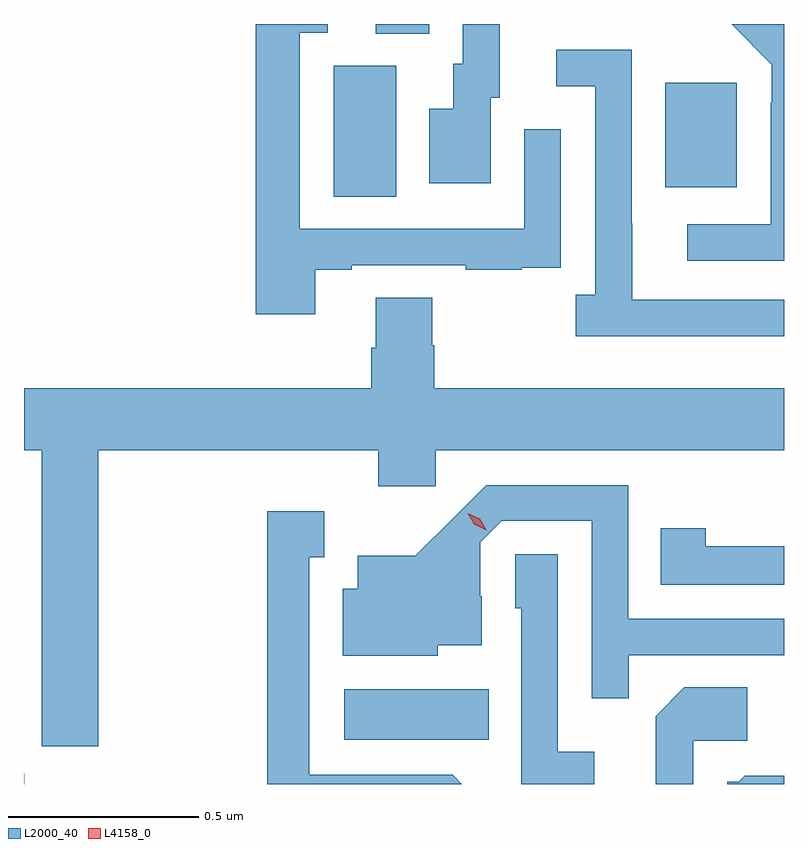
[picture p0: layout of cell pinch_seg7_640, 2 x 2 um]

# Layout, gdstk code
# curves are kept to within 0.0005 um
import gdstk
lib = gdstk.Library(unit=1e-6, precision=1e-09)
def R(c, l, rs):  # rectangles x0, y0, x1, y1
    for r in rs: c.add(gdstk.rectangle(r[:2], r[2:], *l))
def P(c, l, *ps):  # polygons
    for p in ps: c.add(gdstk.Polygon(p, *l))
L2000_40 = (2000, 40)
L4158_0 = (4158, 0)

pinch_seg7_640 = lib.new_cell('pinch_seg7_640')
R(pinch_seg7_640, L2000_40, [(146.301,1017.054,146.302,1017.081), (147.144,1017.17,147.524,1017.304), (147.116,1018.6,147.28,1018.944), (147.989,1018.625,148.177,1018.9), (147.227,1019.029,147.367,1019.054)])
P(pinch_seg7_640, L2000_40, [(148.301,1019.053),(148.3,1019.054),(148.163,1019.054),(148.269,1018.947),(148.269,1018.847),(148.266,1018.847),(148.266,1018.527),(148.047,1018.527),(148.047,1018.431),(148.301,1018.431)],
  [(147.067,1018.407),(147.163,1018.407),(147.163,1018.419),(147.463,1018.419),(147.463,1018.407),(147.611,1018.407),(147.611,1018.413),(147.713,1018.413),(147.713,1018.522),(147.714,1018.522),(147.714,1018.777),(147.618,1018.777),(147.618,1018.515),(147.027,1018.515),(147.027,1019.031),(147.1,1019.031),(147.1,1019.054),(146.911,1019.054),(146.911,1018.29),(147.067,1018.29)],
  [(147.529,1018.86),(147.553,1018.86),(147.553,1019.054),(147.456,1019.054),(147.456,1018.95),(147.431,1018.95),(147.431,1018.831),(147.368,1018.831),(147.368,1018.635),(147.529,1018.635)],
  [(148.301,1018.329),(147.901,1018.329),(147.901,1018.529),(147.9,1018.529),(147.9,1018.986),(147.702,1018.986),(147.702,1018.89),(147.804,1018.89),(147.804,1018.342),(147.753,1018.342),(147.753,1018.232),(148.301,1018.232)],
  [(146.496,1017.932),(147.233,1017.932),(147.233,1017.837),(147.384,1017.837),(147.384,1017.932),(148.301,1017.932),(148.301,1018.096),(147.38,1018.096),(147.38,1018.209),(147.375,1018.209),(147.375,1018.334),(147.227,1018.334),(147.227,1018.202),(147.215,1018.202),(147.215,1018.096),(146.301,1018.096),(146.301,1017.932),(146.348,1017.932),(146.348,1017.153),(146.496,1017.153)],
  [(147.893,1017.393),(148.301,1017.393),(148.301,1017.489),(147.891,1017.489),(147.891,1017.84),(147.518,1017.84),(147.331,1017.655),(147.179,1017.655),(147.179,1017.568),(147.14,1017.568),(147.14,1017.392),(147.39,1017.392),(147.39,1017.419),(147.505,1017.419),(147.505,1017.548),(147.501,1017.548),(147.501,1017.69),(147.558,1017.747),(147.795,1017.747),(147.795,1017.28),(147.893,1017.28)],
  [(147.429,1017.078),(147.052,1017.078),(147.052,1017.651),(147.091,1017.651),(147.091,1017.772),(146.941,1017.772),(146.941,1017.054),(147.453,1017.054)],
  [(148.301,1017.68),(148.095,1017.68),(148.095,1017.727),(147.976,1017.727),(147.976,1017.579),(148.301,1017.579)],
  [(147.802,1017.139),(147.705,1017.139),(147.705,1017.659),(147.594,1017.659),(147.594,1017.516),(147.609,1017.516),(147.609,1017.054),(147.802,1017.054)],
  [(148.062,1017.168),(148.204,1017.168),(148.204,1017.308),(148.039,1017.308),(147.963,1017.232),(147.963,1017.054),(148.062,1017.054)],
  [(148.301,1017.076),(148.198,1017.076),(148.182,1017.06),(148.151,1017.06),(148.151,1017.054),(148.301,1017.054)])
P(pinch_seg7_640, L4158_0, [(147.517,1017.722),(147.486,1017.738),(147.469,1017.767),(147.469,1017.767),(147.469,1017.767),(147.5,1017.752),(147.517,1017.723),(147.517,1017.722)])

lib.write_gds('pinch_seg7_640.gds')
